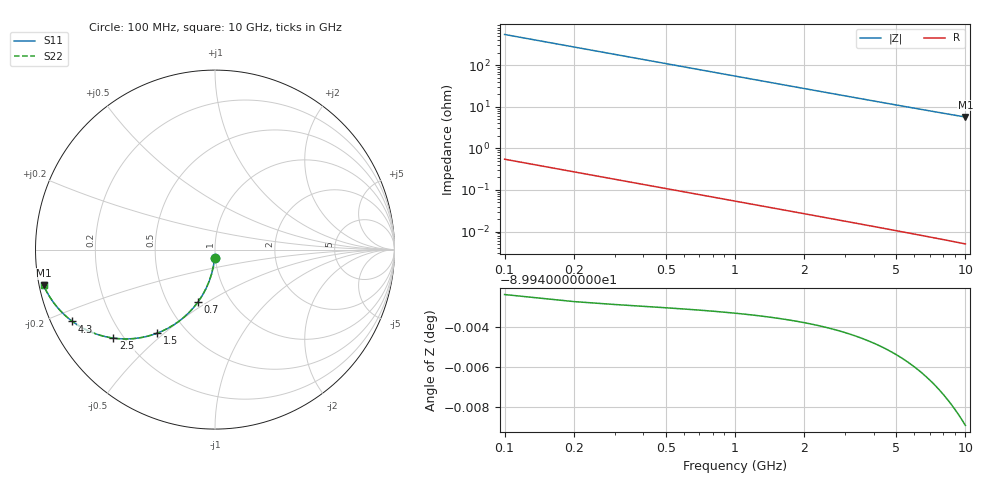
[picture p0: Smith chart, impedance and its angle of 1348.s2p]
# Hz S RI R 50.00
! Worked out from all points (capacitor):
!   100 points, 100 MHz to 10 GHz, reference 50 ohm
!   read as one part in shunt: C = 2.92 pF near 100 MHz
!   lowest |Z| = 5.66 ohm at 10 GHz (marker M1)
!   S11 on the Smith chart (normalised r, x): 100 MHz: 0.99, -0.09; 700 MHz: 0.71, -0.45; 1.5 GHz: 0.35, -0.47; 2.5 GHz: 0.16, -0.37; 4.3 GHz: 0.06, -0.24; 10 GHz: 0.01, -0.10
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1e8  -0.00212 -0.0457  0.9978 -0.0458  0.9978 -0.0458  -0.00212 -0.0457
2e8  -0.00841 -0.0908  0.9915 -0.0911  0.9915 -0.0911  -0.00841 -0.0908
3e8  -0.0187 -0.1348  0.9813 -0.1352  0.9813 -0.1352  -0.0187 -0.1348
4e8  -0.0327 -0.1771  0.9673 -0.1777  0.9673 -0.1777  -0.0327 -0.1771
5e8  -0.0501 -0.2174  0.9498 -0.2181  0.9498 -0.2181  -0.0501 -0.2174
6e8  -0.0706 -0.2552  0.9294 -0.2561  0.9294 -0.2561  -0.0706 -0.2552
7e8  -0.0936 -0.2903  0.9063 -0.2914  0.9063 -0.2914  -0.0936 -0.2903
9e8  -0.1457 -0.3516  0.8543 -0.353  0.8543 -0.353  -0.1457 -0.3516
1.1e9  -0.2029 -0.4008  0.797 -0.4025  0.797 -0.4025  -0.2029 -0.4008
1.3e9  -0.2621 -0.4383  0.7378 -0.4403  0.7378 -0.4403  -0.2621 -0.4383
1.5e9  -0.321 -0.4652  0.679 -0.4675  0.679 -0.4675  -0.321 -0.4652
1.8e9  -0.4048 -0.4889  0.5952 -0.4918  0.5952 -0.4918  -0.4048 -0.4889
2.1e9  -0.4804 -0.4975  0.5195 -0.5008  0.5195 -0.5008  -0.4804 -0.4975
2.5e9  -0.5669 -0.493  0.433 -0.497  0.433 -0.497  -0.5669 -0.493
2.9e9  -0.6376 -0.4779  0.3623 -0.4825  0.3623 -0.4825  -0.6376 -0.4779
3.4e9  -0.7073 -0.4518  0.2927 -0.4572  0.2927 -0.4572  -0.7073 -0.4518
3.8e9  -0.7509 -0.4289  0.249 -0.435  0.249 -0.435  -0.7509 -0.4289
4.3e9  -0.7941 -0.4004  0.2058 -0.4072  0.2058 -0.4072  -0.7941 -0.4004
5.1e9  -0.8442 -0.358  0.1557 -0.3662  0.1557 -0.3662  -0.8442 -0.358
6.7e9  -0.9033 -0.2895  0.0966 -0.3004  0.0966 -0.3004  -0.9033 -0.2895
8.4e9  -0.9363 -0.2367  0.0636 -0.2505  0.0636 -0.2505  -0.9363 -0.2367
1e10  -0.9543 -0.1999  0.0455 -0.2164  0.0455 -0.2164  -0.9543 -0.1999
